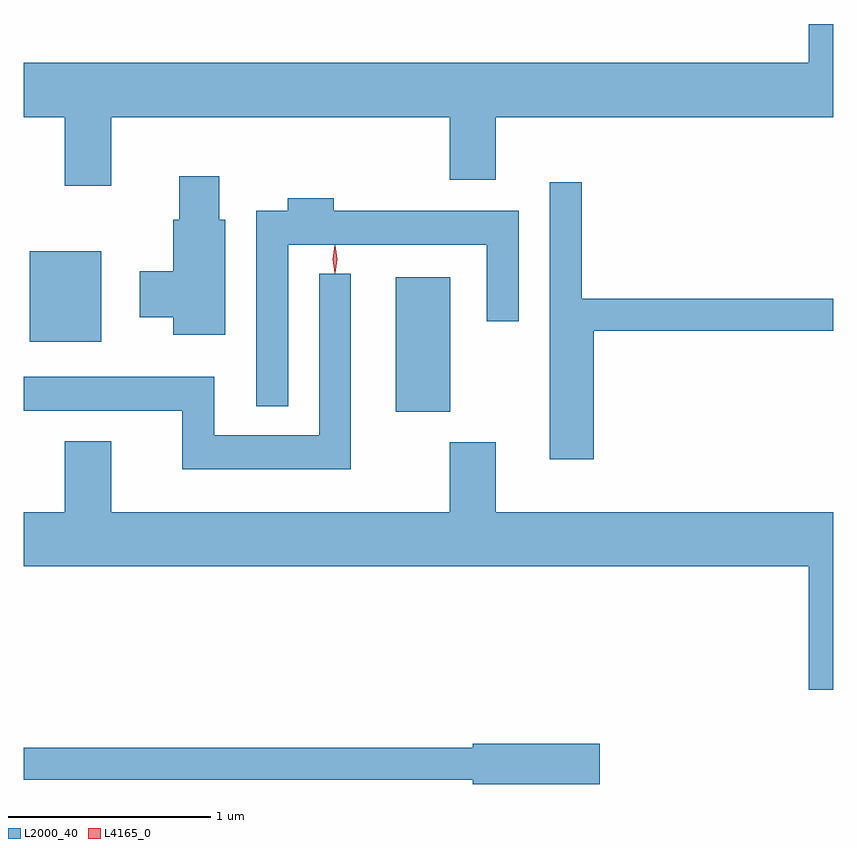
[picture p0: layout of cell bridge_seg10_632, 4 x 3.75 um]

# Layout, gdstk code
import gdstk
lib = gdstk.Library(unit=1e-6, precision=1e-09)
def R(c, l, rs):  # rectangles x0, y0, x1, y1
    for r in rs: c.add(gdstk.rectangle(r[:2], r[2:], *l))
def P(c, l, *ps):  # polygons
    for p in ps: c.add(gdstk.Polygon(p, *l))
L2000_40 = (2000, 40)
L4165_0 = (4165, 0)

bridge_seg10_632 = lib.new_cell('bridge_seg10_632')
R(bridge_seg10_632, L2000_40, [(1052.196,2105.801,1052.464,2106.464), (1050.386,2106.146,1050.739,2106.594)])
P(bridge_seg10_632, L2000_40, [(1050.789,2107.256),(1052.461,2107.256),(1052.461,2106.946),(1052.689,2106.946),(1052.689,2107.256),(1054.357,2107.256),(1054.357,2107.716),(1054.236,2107.716),(1054.236,2107.524),(1050.357,2107.524),(1050.357,2107.256),(1050.561,2107.256),(1050.561,2106.916),(1050.789,2106.916)],
  [(1051.354,2106.749),(1051.324,2106.749),(1051.324,2106.964),(1051.126,2106.964),(1051.126,2106.749),(1051.096,2106.749),(1051.096,2106.494),(1050.931,2106.494),(1050.931,2106.266),(1051.096,2106.266),(1051.096,2106.181),(1051.354,2106.181)],
  [(1053.174,2106.201),(1054.357,2106.201),(1054.357,2106.359),(1053.114,2106.359),(1053.114,2106.933),(1052.956,2106.933),(1052.956,2105.566),(1053.174,2105.566)],
  [(1051.664,2106.626),(1052.646,2106.626),(1052.646,2106.248),(1052.804,2106.248),(1052.804,2106.794),(1051.889,2106.794),(1051.889,2106.854),(1051.661,2106.854),(1051.661,2106.794),(1051.506,2106.794),(1051.506,2105.828),(1051.664,2105.828)],
  [(1051.974,2106.483),(1051.816,2106.483),(1051.816,2105.684),(1051.299,2105.684),(1051.299,2105.974),(1050.357,2105.974),(1050.357,2105.806),(1051.141,2105.806),(1051.141,2105.516),(1051.974,2105.516)],
  [(1054.357,2105.304),(1052.689,2105.304),(1052.689,2105.649),(1052.461,2105.649),(1052.461,2105.304),(1050.789,2105.304),(1050.789,2105.654),(1050.561,2105.654),(1050.561,2105.304),(1050.357,2105.304),(1050.357,2105.036),(1054.236,2105.036),(1054.236,2104.426),(1054.357,2104.426)],
  [(1053.204,2104.159),(1052.576,2104.159),(1052.576,2104.139),(1050.357,2104.139),(1050.357,2103.981),(1052.576,2103.981),(1052.576,2103.961),(1053.204,2103.961)])
P(bridge_seg10_632, L4165_0, [(1051.895,2106.487),(1051.895,2106.488),(1051.885,2106.554),(1051.895,2106.62),(1051.895,2106.621),(1051.896,2106.62),(1051.905,2106.554),(1051.896,2106.488)],
  [(1051.894,2106.484),(1051.885,2106.553),(1051.894,2106.623),(1051.895,2106.623),(1051.896,2106.623),(1051.905,2106.553),(1051.896,2106.484),(1051.895,2106.484)])

lib.write_gds('bridge_seg10_632.gds')
